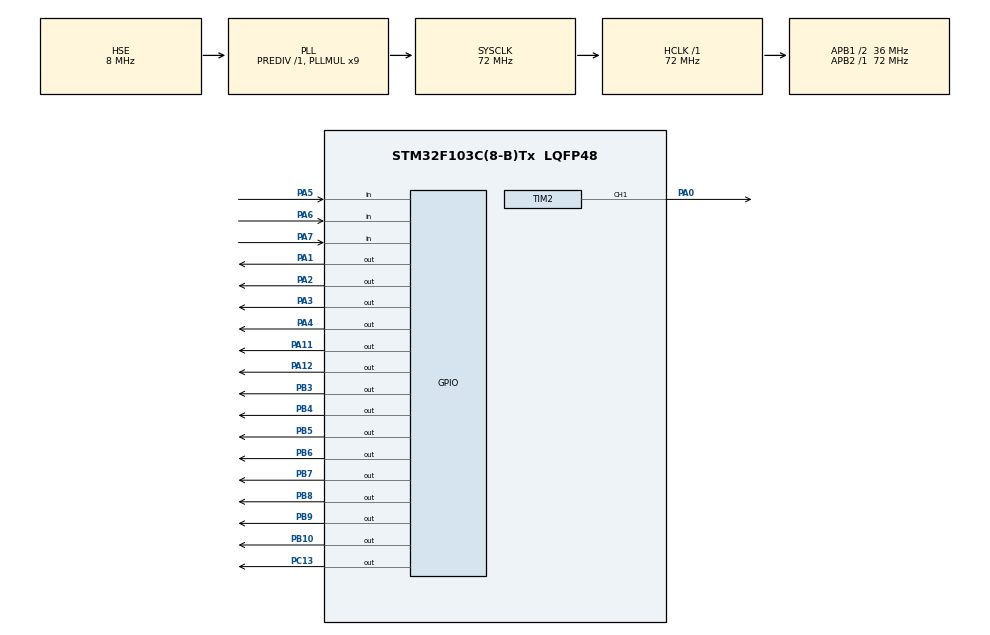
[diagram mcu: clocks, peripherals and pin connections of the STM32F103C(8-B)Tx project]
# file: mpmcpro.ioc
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Mcu.Family=STM32F1
Mcu.Name=STM32F103C(8-B)Tx
Mcu.Package=LQFP48
NVIC.PriorityGroup=NVIC_PRIORITYGROUP_4
PA0-WKUP.Signal=S_TIM2_CH1_ETR
PA1.Signal=GPIO_Output
PA11.Signal=GPIO_Output
PA12.Signal=GPIO_Output
PA13.Mode=Serial_Wire
PA13.Signal=SYS_JTMS-SWDIO
PA14.Mode=Serial_Wire
PA14.Signal=SYS_JTCK-SWCLK
PA2.Signal=GPIO_Output
PA3.Signal=GPIO_Output
PA4.Signal=GPIO_Output
PA5.GPIO_PuPd=GPIO_PULLUP
PA5.Signal=GPIO_Input
PA6.GPIO_PuPd=GPIO_PULLUP
PA6.Signal=GPIO_Input
PA7.GPIO_PuPd=GPIO_PULLUP
PA7.Signal=GPIO_Input
PB10.Signal=GPIO_Output
PB3.Signal=GPIO_Output
PB4.Signal=GPIO_Output
PB5.Signal=GPIO_Output
PB6.Signal=GPIO_Output
PB7.Signal=GPIO_Output
PB8.Signal=GPIO_Output
PB9.Signal=GPIO_Output
PC13-TAMPER-RTC.Signal=GPIO_Output
PD0-OSC_IN.Mode=HSE-External-Oscillator
PD0-OSC_IN.Signal=RCC_OSC_IN
PD1-OSC_OUT.Mode=HSE-External-Oscillator
PD1-OSC_OUT.Signal=RCC_OSC_OUT
ProjectManager.HeapSize=0x200
ProjectManager.StackSize=0x400
ProjectManager.TargetToolchain=STM32CubeIDE
RCC.AHBFreq_Value=72000000
RCC.APB1CLKDivider=RCC_HCLK_DIV2
RCC.APB1Freq_Value=36000000
RCC.APB1TimFreq_Value=72000000
RCC.APB2Freq_Value=72000000
RCC.APB2TimFreq_Value=72000000
RCC.HCLKFreq_Value=72000000
RCC.PLLMUL=RCC_PLL_MUL9
RCC.PLLSourceVirtual=RCC_PLLSOURCE_HSE
RCC.SYSCLKFreq_VALUE=72000000
RCC.SYSCLKSource=RCC_SYSCLKSOURCE_PLLCLK
RCC.USBFreq_Value=72000000
SH.S_TIM2_CH1_ETR.0=TIM2_CH1,PWM Generation1 CH1
TIM2.Channel-PWM\ Generation1\ CH1=TIM_CHANNEL_1
TIM2.Period=35999
TIM2.Prescaler=1999
VP_TIM2_VS_ClockSourceINT.Mode=Internal
board=custom

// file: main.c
/* USER CODE BEGIN Header */
/**
  ******************************************************************************
  * @file           : main.c
  * @brief          : Main program body
  ******************************************************************************
  * @attention
  *
  * Copyright (c) 2026 STMicroelectronics.
  * All rights reserved.
  *
  * This software is licensed under terms that can be found in the LICENSE file
  * in the root directory of this software component.
  * If no LICENSE file comes with this software, it is provided AS-IS.
  *
  ******************************************************************************
  */
/* USER CODE END Header */
#include "main.h"

TIM_HandleTypeDef htim2;

/* USER CODE BEGIN PV */
uint16_t x1,d1,d2;
uint8_t r, c, i, j;
uint8_t b[4][3] = {{1,2,3},{4,5,6},{7,8,9},{0,0,0}};
uint16_t row[4] = {GPIO_PIN_1, GPIO_PIN_2, GPIO_PIN_3, GPIO_PIN_4};
uint16_t co[3]  = {GPIO_PIN_5, GPIO_PIN_6, GPIO_PIN_7};
/* USER CODE END PV */

void SystemClock_Config(void);
static void MX_GPIO_Init(void);
static void MX_TIM2_Init(void);

/* USER CODE BEGIN 0 */

uint8_t Keypad_WaitForKey(void)
{

    while (1) {
        for (r = 0; r < 4; r++) {
            // set all rows HIGH
            for (i = 0; i < 4; i++)
                HAL_GPIO_WritePin(GPIOA, row[i], GPIO_PIN_SET);

            // pull current row LOW
            HAL_GPIO_WritePin(GPIOA, row[r], GPIO_PIN_RESET);
            HAL_Delay(5);

            for (c = 0; c < 3; c++) {
                if (HAL_GPIO_ReadPin(GPIOA, co[c]) == GPIO_PIN_RESET) {
                    // wait for key release
                    while (HAL_GPIO_ReadPin(GPIOA, co[c]) == GPIO_PIN_RESET);
                    HAL_Delay(20);
                    return b[r][c];
                }
            }
        }
    }
}

/* USER CODE END 0 */

int main(void)
{

  /* MCU Configuration--------------------------------------------------------*/

  /* Reset of all peripherals, Initializes the Flash interface and the Systick. */
  HAL_Init();

  /* Configure the system clock */
  SystemClock_Config();

  /* Initialize all configured peripherals */
  MX_GPIO_Init();
  MX_TIM2_Init();
  /* USER CODE BEGIN 2 */
  HAL_Delay(100);

  GPIOB->ODR &= ~(0xFF << 3);
    GPIOB->ODR |=  (0x38 << 3);
    HAL_GPIO_WritePin(GPIOA, GPIO_PIN_11, 0); // RS=0
    HAL_GPIO_WritePin(GPIOA, GPIO_PIN_12, 1); // E=1
    HAL_Delay(10);
    HAL_GPIO_WritePin(GPIOA, GPIO_PIN_12, 0); // E=0
    HAL_Delay(5);

    GPIOB->ODR &= ~(0xFF << 3);
    GPIOB->ODR |=  (0x38 << 3);
    HAL_GPIO_WritePin(GPIOA, GPIO_PIN_11, 0);
    HAL_GPIO_WritePin(GPIOA, GPIO_PIN_12, 1);
    HAL_Delay(10);
    HAL_GPIO_WritePin(GPIOA, GPIO_PIN_12, 0);
    HAL_Delay(5);

    GPIOB->ODR &= ~(0xFF << 3);
    GPIOB->ODR |=  (0x38 << 3);
    HAL_GPIO_WritePin(GPIOA, GPIO_PIN_11, 0);
    HAL_GPIO_WritePin(GPIOA, GPIO_PIN_12, 1);
    HAL_Delay(10);
    HAL_GPIO_WritePin(GPIOA, GPIO_PIN_12, 0);
    HAL_Delay(5);

    // --- 0x08 display OFF ---
    GPIOB->ODR &= ~(0xFF << 3);
    GPIOB->ODR |=  (0x08 << 3);
    HAL_GPIO_WritePin(GPIOA, GPIO_PIN_11, 0);
    HAL_GPIO_WritePin(GPIOA, GPIO_PIN_12, 1);
    HAL_Delay(10);
    HAL_GPIO_WritePin(GPIOA, GPIO_PIN_12, 0);
    HAL_Delay(5);

    // --- 0x01 clear display ---
    GPIOB->ODR &= ~(0xFF << 3);
    GPIOB->ODR |=  (0x01 << 3);
    HAL_GPIO_WritePin(GPIOA, GPIO_PIN_11, 0);
    HAL_GPIO_WritePin(GPIOA, GPIO_PIN_12, 1);
    HAL_Delay(10);
    HAL_GPIO_WritePin(GPIOA, GPIO_PIN_12, 0);
    HAL_Delay(5);

    // --- 0x06 entry mode ---
    GPIOB->ODR &= ~(0xFF << 3);
    GPIOB->ODR |=  (0x06 << 3);
    HAL_GPIO_WritePin(GPIOA, GPIO_PIN_11, 0);
    HAL_GPIO_WritePin(GPIOA, GPIO_PIN_12, 1);
    HAL_Delay(10);
    HAL_GPIO_WritePin(GPIOA, GPIO_PIN_12, 0);
    HAL_Delay(5);

    // --- 0x0C display ON cursor OFF ---
    GPIOB->ODR &= ~(0xFF << 3);
    GPIOB->ODR |=  (0x0C << 3);
    HAL_GPIO_WritePin(GPIOA, GPIO_PIN_11, 0);
    HAL_GPIO_WritePin(GPIOA, GPIO_PIN_12, 1);
    HAL_Delay(10);
    HAL_GPIO_WritePin(GPIOA, GPIO_PIN_12, 0);
    HAL_Delay(5);
  HAL_TIM_PWM_Start(&htim2, TIM_CHANNEL_1);
  TIM2->CCR1 = 0;
  /* USER CODE END 2 */

  /* Infinite loop */
  while (1)
  {

    /* USER CODE BEGIN 3 */
	  HAL_GPIO_WritePin(GPIOC, GPIO_PIN_13, 0);
	 		    d1 = Keypad_WaitForKey();
	 		    // LED ON briefly = 1st digit received
	 		    HAL_GPIO_WritePin(GPIOC, GPIO_PIN_13, 1);
	 		    HAL_Delay(1000);
	 		    HAL_GPIO_WritePin(GPIOC, GPIO_PIN_13, 0);
	 		    // --- Step 2: Wait for second digit ---
	 		    d2 = Keypad_WaitForKey();
	 		    // LED ON briefly = 2nd digit received
	 		    HAL_GPIO_WritePin(GPIOC, GPIO_PIN_13, 1);
	 		    HAL_Delay(1000);
	 		    HAL_GPIO_WritePin(GPIOC, GPIO_PIN_13, 0);
	 		    // --- Step 3: Compute and apply ---
	 		    x1 = (d1 * 10) + d2;
	 		    if (x1 > 100) x1 = 100;    // clamp to 100%
	 		    TIM2->CCR1 = x1 * 120;
	 		    // Long blink = duty cycle applied
	 		    HAL_GPIO_WritePin(GPIOC, GPIO_PIN_13, 0);
	 		      d1 = Keypad_WaitForKey();

	 		      HAL_GPIO_WritePin(GPIOC, GPIO_PIN_13, 1);
	 		      HAL_Delay(1000);
	 		      HAL_GPIO_WritePin(GPIOC, GPIO_PIN_13, 0);

	 		      d2 = Keypad_WaitForKey();

	 		      HAL_GPIO_WritePin(GPIOC, GPIO_PIN_13, 1);
	 		      HAL_Delay(1000);
	 		      HAL_GPIO_WritePin(GPIOC, GPIO_PIN_13, 0);

	 		      x1 = (d1 * 10) + d2;
	 		      if (x1 > 100) x1 = 100;
	 		      TIM2->CCR1 = x1 * 360;

	 		      // --- LCD clear ---
	 		      GPIOB->ODR &= ~(0xFF << 3);
	 		      GPIOB->ODR |=  (0x01 << 3);
	 		      HAL_GPIO_WritePin(GPIOA, GPIO_PIN_11, 0); // RS=0
	 		      HAL_GPIO_WritePin(GPIOA, GPIO_PIN_12, 1); // E=1
	 		      HAL_Delay(10);
	 		      HAL_GPIO_WritePin(GPIOA, GPIO_PIN_12, 0); // E=0
	 		      HAL_Delay(5);

	 		      // --- cursor to row1 col0 (0x80) ---
	 		      GPIOB->ODR &= ~(0xFF << 3);
	 		      GPIOB->ODR |=  (0x80 << 3);
	 		      HAL_GPIO_WritePin(GPIOA, GPIO_PIN_11, 0); // RS=0
	 		      HAL_GPIO_WritePin(GPIOA, GPIO_PIN_12, 1); // E=1
	 		      HAL_Delay(10);
	 		      HAL_GPIO_WritePin(GPIOA, GPIO_PIN_12, 0); // E=0
	 		      HAL_Delay(5);

	 		      // --- print 'D' ---
	 		      GPIOB->ODR &= ~(0xFF << 3);
	 		      GPIOB->ODR |=  ('D' << 3);
	 		      HAL_GPIO_WritePin(GPIOA, GPIO_PIN_11, 1); // RS=1
	 		      HAL_GPIO_WritePin(GPIOA, GPIO_PIN_12, 1); // E=1
	 		      HAL_Delay(10);
	 		      HAL_GPIO_WritePin(GPIOA, GPIO_PIN_12, 0); // E=0
	 		      HAL_Delay(5);

	 		      // --- print 'U' ---
	 		      GPIOB->ODR &= ~(0xFF << 3);
	 		      GPIOB->ODR |=  ('U' << 3);
	 		      HAL_GPIO_WritePin(GPIOA, GPIO_PIN_11, 1);
	 		      HAL_GPIO_WritePin(GPIOA, GPIO_PIN_12, 1);
	 		      HAL_Delay(10);
	 		      HAL_GPIO_WritePin(GPIOA, GPIO_PIN_12, 0);
	 		      HAL_Delay(5);

	 		      // --- print 'T' ---
	 		      GPIOB->ODR &= ~(0xFF << 3);
	 		      GPIOB->ODR |=  ('T' << 3);
	 		      HAL_GPIO_WritePin(GPIOA, GPIO_PIN_11, 1);
	 		      HAL_GPIO_WritePin(GPIOA, GPIO_PIN_12, 1);
	 		      HAL_Delay(10);
	 		      HAL_GPIO_WritePin(GPIOA, GPIO_PIN_12, 0);
	 		      HAL_Delay(5);

	 		      // --- print 'Y' ---
	 		      GPIOB->ODR &= ~(0xFF << 3);
	 		      GPIOB->ODR |=  ('Y' << 3);
	 		      HAL_GPIO_WritePin(GPIOA, GPIO_PIN_11, 1);
	 		      HAL_GPIO_WritePin(GPIOA, GPIO_PIN_12, 1);
	 		      HAL_Delay(10);
	 		      HAL_GPIO_WritePin(GPIOA, GPIO_PIN_12, 0);
	 		      HAL_Delay(5);

	 		     GPIOB->ODR &= ~(0xFF << 3);
	 		         GPIOB->ODR |=  (' ' << 3);
	 		         HAL_GPIO_WritePin(GPIOA, GPIO_PIN_11, 1);
	 		         HAL_GPIO_WritePin(GPIOA, GPIO_PIN_12, 1);
	 		         HAL_Delay(10);
	 		         HAL_GPIO_WritePin(GPIOA, GPIO_PIN_12, 0);
	 		         HAL_Delay(5);

	 		         // --- print 'C' ---
	 		         GPIOB->ODR &= ~(0xFF << 3);
	 		         GPIOB->ODR |=  ('C' << 3);
	 		         HAL_GPIO_WritePin(GPIOA, GPIO_PIN_11, 1);
	 		         HAL_GPIO_WritePin(GPIOA, GPIO_PIN_12, 1);
	 		         HAL_Delay(10);
	 		         HAL_GPIO_WritePin(GPIOA, GPIO_PIN_12, 0);
	 		         HAL_Delay(5);

	 		         // --- print 'Y' ---
	 		         GPIOB->ODR &= ~(0xFF << 3);
	 		         GPIOB->ODR |=  ('Y' << 3);
	 		         HAL_GPIO_WritePin(GPIOA, GPIO_PIN_11, 1);
	 		         HAL_GPIO_WritePin(GPIOA, GPIO_PIN_12, 1);
	 		         HAL_Delay(10);
	 		         HAL_GPIO_WritePin(GPIOA, GPIO_PIN_12, 0);
	 		         HAL_Delay(5);

	 		         // --- print 'C' ---
	 		         GPIOB->ODR &= ~(0xFF << 3);
	 		         GPIOB->ODR |=  ('C' << 3);
	 		         HAL_GPIO_WritePin(GPIOA, GPIO_PIN_11, 1);
	 		         HAL_GPIO_WritePin(GPIOA, GPIO_PIN_12, 1);
	 		         HAL_Delay(10);
	 		         HAL_GPIO_WritePin(GPIOA, GPIO_PIN_12, 0);
	 		         HAL_Delay(5);

	 		         // --- print 'L' ---
	 		         GPIOB->ODR &= ~(0xFF << 3);
	 		         GPIOB->ODR |=  ('L' << 3);
	 		         HAL_GPIO_WritePin(GPIOA, GPIO_PIN_11, 1);
	 		         HAL_GPIO_WritePin(GPIOA, GPIO_PIN_12, 1);
	 		         HAL_Delay(10);
	 		         HAL_GPIO_WritePin(GPIOA, GPIO_PIN_12, 0);
	 		         HAL_Delay(5);

	 		         // --- print 'E' ---
	 		         GPIOB->ODR &= ~(0xFF << 3);
	 		         GPIOB->ODR |=  ('E' << 3);
	 		         HAL_GPIO_WritePin(GPIOA, GPIO_PIN_11, 1);
	 		         HAL_GPIO_WritePin(GPIOA, GPIO_PIN_12, 1);
	 		         HAL_Delay(10);
	 		         HAL_GPIO_WritePin(GPIOA, GPIO_PIN_12, 0);
	 		         HAL_Delay(5);
	 		      // --- print ':' ---
	 		      GPIOB->ODR &= ~(0xFF << 3);
	 		      GPIOB->ODR |=  (':' << 3);
	 		      HAL_GPIO_WritePin(GPIOA, GPIO_PIN_11, 1);
	 		      HAL_GPIO_WritePin(GPIOA, GPIO_PIN_12, 1);
	 		      HAL_Delay(10);
	 		      HAL_GPIO_WritePin(GPIOA, GPIO_PIN_12, 0);
	 		      HAL_Delay(5);

	 		      // --- print ' ' ---
	 		      GPIOB->ODR &= ~(0xFF << 3);
	 		      GPIOB->ODR |=  (' ' << 3);
	 		      HAL_GPIO_WritePin(GPIOA, GPIO_PIN_11, 1);
	 		      HAL_GPIO_WritePin(GPIOA, GPIO_PIN_12, 1);
	 		      HAL_Delay(10);
	 		      HAL_GPIO_WritePin(GPIOA, GPIO_PIN_12, 0);
	 		      HAL_Delay(5);

	 		      // --- print tens digit ---
	 		      GPIOB->ODR &= ~(0xFF << 3);
	 		      GPIOB->ODR |=  (('0' + (x1 / 10)) << 3);
	 		      HAL_GPIO_WritePin(GPIOA, GPIO_PIN_11, 1);
	 		      HAL_GPIO_WritePin(GPIOA, GPIO_PIN_12, 1);
	 		      HAL_Delay(10);
	 		      HAL_GPIO_WritePin(GPIOA, GPIO_PIN_12, 0);
	 		      HAL_Delay(5);

	 		      // --- print units digit ---
	 		      GPIOB->ODR &= ~(0xFF << 3);
	 		      GPIOB->ODR |=  (('0' + (x1 % 10)) << 3);
	 		      HAL_GPIO_WritePin(GPIOA, GPIO_PIN_11, 1);
	 		      HAL_GPIO_WritePin(GPIOA, GPIO_PIN_12, 1);
	 		      HAL_Delay(10);
	 		      HAL_GPIO_WritePin(GPIOA, GPIO_PIN_12, 0);
	 		      HAL_Delay(5);

	 		      // --- print '%' ---
	 		      GPIOB->ODR &= ~(0xFF << 3);
	 		      GPIOB->ODR |=  ('%' << 3);
	 		      HAL_GPIO_WritePin(GPIOA, GPIO_PIN_11, 1);
	 		      HAL_GPIO_WritePin(GPIOA, GPIO_PIN_12, 1);
	 		      HAL_Delay(10);
	 		      HAL_GPIO_WritePin(GPIOA, GPIO_PIN_12, 0);
	 		      HAL_Delay(5);

	 		      HAL_Delay(1000);
	 		      HAL_Delay(5000);
	 		    HAL_Delay(1000);
	 		   // HAL_GPIO_WritePin(GPIOC, GPIO_PIN_13, 1);
	 		    HAL_Delay(5000 );
  /* USER CODE END 3 */
}}

void SystemClock_Config(void)
{
  RCC_OscInitTypeDef RCC_OscInitStruct = {0};
  RCC_ClkInitTypeDef RCC_ClkInitStruct = {0};

  /** Initializes the RCC Oscillators according to the specified parameters
  * in the RCC_OscInitTypeDef structure.
  */
  RCC_OscInitStruct.OscillatorType = RCC_OSCILLATORTYPE_HSE;
  RCC_OscInitStruct.HSEState = RCC_HSE_ON;
  RCC_OscInitStruct.HSEPredivValue = RCC_HSE_PREDIV_DIV1;
  RCC_OscInitStruct.HSIState = RCC_HSI_ON;
  RCC_OscInitStruct.PLL.PLLState = RCC_PLL_ON;
  RCC_OscInitStruct.PLL.PLLSource = RCC_PLLSOURCE_HSE;
  RCC_OscInitStruct.PLL.PLLMUL = RCC_PLL_MUL9;
  if (HAL_RCC_OscConfig(&RCC_OscInitStruct) != HAL_OK)
  {
    Error_Handler();
  }

  /** Initializes the CPU, AHB and APB buses clocks
  */
  RCC_ClkInitStruct.ClockType = RCC_CLOCKTYPE_HCLK|RCC_CLOCKTYPE_SYSCLK
                              |RCC_CLOCKTYPE_PCLK1|RCC_CLOCKTYPE_PCLK2;
  RCC_ClkInitStruct.SYSCLKSource = RCC_SYSCLKSOURCE_PLLCLK;
  RCC_ClkInitStruct.AHBCLKDivider = RCC_SYSCLK_DIV1;
  RCC_ClkInitStruct.APB1CLKDivider = RCC_HCLK_DIV2;
  RCC_ClkInitStruct.APB2CLKDivider = RCC_HCLK_DIV1;

  if (HAL_RCC_ClockConfig(&RCC_ClkInitStruct, FLASH_LATENCY_2) != HAL_OK)
  {
    Error_Handler();
  }
}

static void MX_TIM2_Init(void)
{

  TIM_ClockConfigTypeDef sClockSourceConfig = {0};
  TIM_MasterConfigTypeDef sMasterConfig = {0};
  TIM_OC_InitTypeDef sConfigOC = {0};

  htim2.Instance = TIM2;
  htim2.Init.Prescaler = 1999;
  htim2.Init.CounterMode = TIM_COUNTERMODE_UP;
  htim2.Init.Period = 35999;
  htim2.Init.ClockDivision = TIM_CLOCKDIVISION_DIV1;
  htim2.Init.AutoReloadPreload = TIM_AUTORELOAD_PRELOAD_DISABLE;
  if (HAL_TIM_Base_Init(&htim2) != HAL_OK)
  {
    Error_Handler();
  }
  sClockSourceConfig.ClockSource = TIM_CLOCKSOURCE_INTERNAL;
  if (HAL_TIM_ConfigClockSource(&htim2, &sClockSourceConfig) != HAL_OK)
  {
    Error_Handler();
  }
  if (HAL_TIM_PWM_Init(&htim2) != HAL_OK)
  {
    Error_Handler();
  }
  sMasterConfig.MasterOutputTrigger = TIM_TRGO_RESET;
  sMasterConfig.MasterSlaveMode = TIM_MASTERSLAVEMODE_DISABLE;
  if (HAL_TIMEx_MasterConfigSynchronization(&htim2, &sMasterConfig) != HAL_OK)
  {
    Error_Handler();
  }
  sConfigOC.OCMode = TIM_OCMODE_PWM1;
  sConfigOC.Pulse = 0;
  sConfigOC.OCPolarity = TIM_OCPOLARITY_HIGH;
  sConfigOC.OCFastMode = TIM_OCFAST_DISABLE;
  if (HAL_TIM_PWM_ConfigChannel(&htim2, &sConfigOC, TIM_CHANNEL_1) != HAL_OK)
  {
    Error_Handler();
  }
  HAL_TIM_MspPostInit(&htim2);

}

static void MX_GPIO_Init(void)
{
  GPIO_InitTypeDef GPIO_InitStruct = {0};

  /* GPIO Ports Clock Enable */
  __HAL_RCC_GPIOC_CLK_ENABLE();
  __HAL_RCC_GPIOD_CLK_ENABLE();
  __HAL_RCC_GPIOA_CLK_ENABLE();
  __HAL_RCC_GPIOB_CLK_ENABLE();

  /*Configure GPIO pin Output Level */
  HAL_GPIO_WritePin(GPIOC, GPIO_PIN_13, GPIO_PIN_RESET);

  /*Configure GPIO pin Output Level */
  HAL_GPIO_WritePin(GPIOA, GPIO_PIN_1|GPIO_PIN_2|GPIO_PIN_3|GPIO_PIN_4
                          |GPIO_PIN_11|GPIO_PIN_12, GPIO_PIN_RESET);

  /*Configure GPIO pin Output Level */
  HAL_GPIO_WritePin(GPIOB, GPIO_PIN_10|GPIO_PIN_3|GPIO_PIN_4|GPIO_PIN_5
                          |GPIO_PIN_6|GPIO_PIN_7|GPIO_PIN_8|GPIO_PIN_9, GPIO_PIN_RESET);

  /*Configure GPIO pin : PC13 */
  GPIO_InitStruct.Pin = GPIO_PIN_13;
  GPIO_InitStruct.Mode = GPIO_MODE_OUTPUT_PP;
  GPIO_InitStruct.Pull = GPIO_NOPULL;
  GPIO_InitStruct.Speed = GPIO_SPEED_FREQ_LOW;
  HAL_GPIO_Init(GPIOC, &GPIO_InitStruct);

  /*Configure GPIO pins : PA1 PA2 PA3 PA4
                           PA11 PA12 */
  GPIO_InitStruct.Pin = GPIO_PIN_1|GPIO_PIN_2|GPIO_PIN_3|GPIO_PIN_4
                          |GPIO_PIN_11|GPIO_PIN_12;
  GPIO_InitStruct.Mode = GPIO_MODE_OUTPUT_PP;
  GPIO_InitStruct.Pull = GPIO_NOPULL;
  GPIO_InitStruct.Speed = GPIO_SPEED_FREQ_LOW;
  HAL_GPIO_Init(GPIOA, &GPIO_InitStruct);

  /*Configure GPIO pins : PA5 PA6 PA7 */
  GPIO_InitStruct.Pin = GPIO_PIN_5|GPIO_PIN_6|GPIO_PIN_7;
  GPIO_InitStruct.Mode = GPIO_MODE_INPUT;
  GPIO_InitStruct.Pull = GPIO_PULLUP;
  HAL_GPIO_Init(GPIOA, &GPIO_InitStruct);

  /*Configure GPIO pins : PB10 PB3 PB4 PB5
                           PB6 PB7 PB8 PB9 */
  GPIO_InitStruct.Pin = GPIO_PIN_10|GPIO_PIN_3|GPIO_PIN_4|GPIO_PIN_5
                          |GPIO_PIN_6|GPIO_PIN_7|GPIO_PIN_8|GPIO_PIN_9;
  GPIO_InitStruct.Mode = GPIO_MODE_OUTPUT_PP;
  GPIO_InitStruct.Pull = GPIO_NOPULL;
  GPIO_InitStruct.Speed = GPIO_SPEED_FREQ_LOW;
  HAL_GPIO_Init(GPIOB, &GPIO_InitStruct);

}

void Error_Handler(void)
{
  __disable_irq();
  while (1)
  {
  }
}
